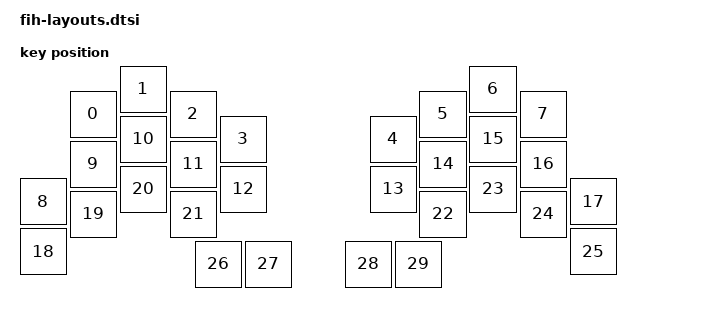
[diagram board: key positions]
#include <physical_layouts.dtsi>

/ {
    physical_layout_fih: physical_layout_fih {
        compatible = "zmk,physical-layout";
        display-name = "Fih";
        keys  //                     w   h    x    y     rot    rx    ry
            = <&key_physical_attrs 100 100  100   50       0     0     0>
            , <&key_physical_attrs 100 100  200    0       0     0     0>
            , <&key_physical_attrs 100 100  300   50       0     0     0>
            , <&key_physical_attrs 100 100  400  100       0     0     0>
            , <&key_physical_attrs 100 100  700  100       0     0     0>
            , <&key_physical_attrs 100 100  800   50       0     0     0>
            , <&key_physical_attrs 100 100  900    0       0     0     0>
            , <&key_physical_attrs 100 100 1000   50       0     0     0>
            , <&key_physical_attrs 100 100    0  225       0     0     0>
            , <&key_physical_attrs 100 100  100  150       0     0     0>
            , <&key_physical_attrs 100 100  200  100       0     0     0>
            , <&key_physical_attrs 100 100  300  150       0     0     0>
            , <&key_physical_attrs 100 100  400  200       0     0     0>
            , <&key_physical_attrs 100 100  700  200       0     0     0>
            , <&key_physical_attrs 100 100  800  150       0     0     0>
            , <&key_physical_attrs 100 100  900  100       0     0     0>
            , <&key_physical_attrs 100 100 1000  150       0     0     0>
            , <&key_physical_attrs 100 100 1100  225       0     0     0>
            , <&key_physical_attrs 100 100    0  325       0     0     0>
            , <&key_physical_attrs 100 100  100  250       0     0     0>
            , <&key_physical_attrs 100 100  200  200       0     0     0>
            , <&key_physical_attrs 100 100  300  250       0     0     0>
            , <&key_physical_attrs 100 100  800  250       0     0     0>
            , <&key_physical_attrs 100 100  900  200       0     0     0>
            , <&key_physical_attrs 100 100 1000  250       0     0     0>
            , <&key_physical_attrs 100 100 1100  325       0     0     0>
            , <&key_physical_attrs 100 100  350  350       0     0     0>
            , <&key_physical_attrs 100 100  450  350       0     0     0>
            , <&key_physical_attrs 100 100  650  350       0     0     0>
            , <&key_physical_attrs 100 100  750  350       0     0     0>
            ;
    };
};
